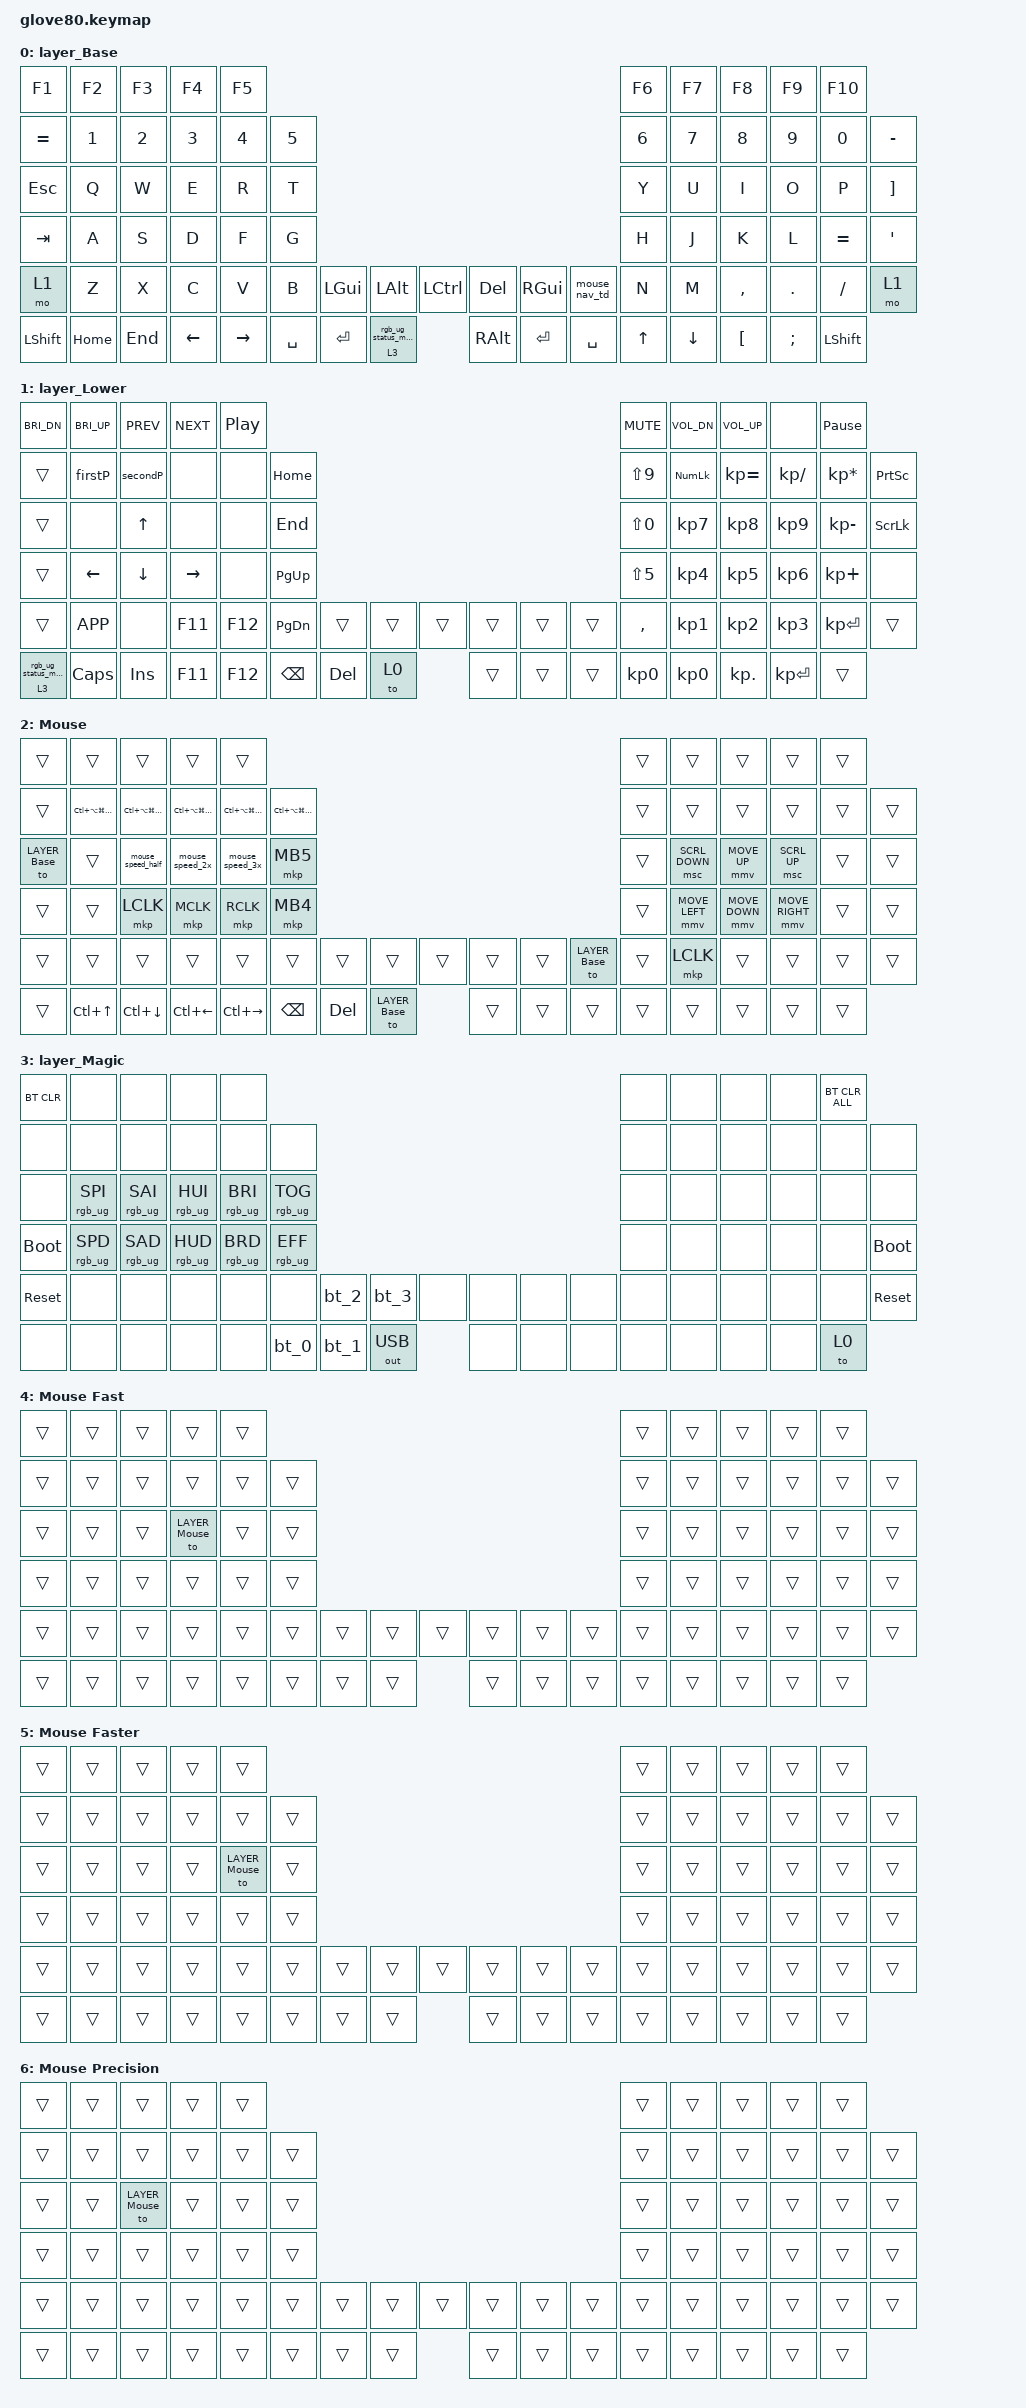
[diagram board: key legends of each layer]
/*
 * Copyright (c) 2020 The ZMK Contributors
 * Copyright (c) 2025 Innaworks Development Limited, trading as MoErgo
 *
 * SPDX-License-Identifier: MIT
 */
/* THIS FILE WAS GENERATED BY GLOVE80 LAYOUT EDITOR
 *
 * This file was generated automatically. You may or may not want to
 * edit it directly.
 */
/* Include all behavior includes needed */

#include <behaviors.dtsi>
#include <dt-bindings/zmk/bt.h>
#include <dt-bindings/zmk/keys.h>
#include <dt-bindings/zmk/outputs.h>
#include <dt-bindings/zmk/pointing.h>
#include <dt-bindings/zmk/rgb.h>
#include <input/processors/scaler.dtsi>

/* Hold Magic and press F2 to unlock Studio/KeyPeek on the central half. */
#ifndef KEYPEEK_UNLOCK
#define KEYPEEK_UNLOCK &none
#endif

/* On demand includes */
/* Helper Macros, based on https://github.com/urob/zmk-helpers/ */

#pragma once

#define ZMK_HELPER_STRINGIFY(x) #x

// Preprocessor mechanism to overload macros, cf. https://stackoverflow.com/a/27051616/6114651

#define VARGS_(_10, _9, _8, _7, _6, _5, _4, _3, _2, _1, N, ...) N
#define VARGS(...) VARGS_(__VA_ARGS__, 10, 9, 8, 7, 6, 5, 4, 3, 2, 1, 0)
#define CONCAT_(a, b) a##b
#define CONCAT(a, b) CONCAT_(a, b)

#define ZMK_BEHAVIOR_CORE_tap_dance  \
    compatible = "zmk,behavior-tap-dance"; \
    #binding-cells = <0>

#define ZMK_BEHAVIOR(name, type, ...) \
    name: name { \
        ZMK_BEHAVIOR_CORE_ ## type; \
        __VA_ARGS__ \
    };
#define ZMK_TAP_DANCE(name, ...) \
    ZMK_BEHAVIOR(name, tap_dance, __VA_ARGS__)
#define ZMK_TD_LAYER(name, layer) \
    ZMK_TAP_DANCE(name, \
        tapping-term-ms = <200>; \
        bindings = <&mo layer>, <&to layer>; \
)

/* Environment and metadata defines */

#define KB_TYPE_GLOVE_80 1
#define KB_TYPE_GO_60    2
#define KB_TYPE          KB_TYPE_GLOVE_80
#define EDITOR_HOST_OS   'M'

/* Automatically generated layer name defines */

#define LAYER_Base 0
#define LAYER_Lower 1
#define LAYER_Mouse 2
#define LAYER_Magic 3
#define LAYER_Mouse_Fast 4
#define LAYER_Mouse_Faster 5
#define LAYER_Mouse_Precision 6

/* Scale pointer events only; mouse buttons and scrolling use other listeners. */
&mmv_input_listener {
    precision {
        layers = <LAYER_Mouse_Precision>;
        input-processors = <&zip_xy_scaler 1 2>;
    };
    faster {
        layers = <LAYER_Mouse_Faster>;
        input-processors = <&zip_xy_scaler 3 1>;
    };
    fast {
        layers = <LAYER_Mouse_Fast>;
        input-processors = <&zip_xy_scaler 2 1>;
    };
};

/* Hold Mouse; release returns to Base and clears every speed flag. */
/ {
    macros {
        mouse_nav: mouse_nav {
            compatible = "zmk,behavior-macro";
            #binding-cells = <0>;
            wait-ms = <0>;
            tap-ms = <0>;
            bindings = <&macro_press &mo LAYER_Mouse>,
                       <&macro_pause_for_release>,
                       <&macro_release &mo LAYER_Mouse>,
                       <&macro_tap &to LAYER_Base>;
        };

        /* Select one speed, clearing any previously active speed flags. */
        mouse_speed_half: mouse_speed_half {
            compatible = "zmk,behavior-macro";
            #binding-cells = <0>;
            wait-ms = <0>;
            tap-ms = <0>;
            bindings = <&macro_tap &to LAYER_Mouse &tog LAYER_Mouse_Precision>;
        };

        mouse_speed_2x: mouse_speed_2x {
            compatible = "zmk,behavior-macro";
            #binding-cells = <0>;
            wait-ms = <0>;
            tap-ms = <0>;
            bindings = <&macro_tap &to LAYER_Mouse &tog LAYER_Mouse_Fast>;
        };

        mouse_speed_3x: mouse_speed_3x {
            compatible = "zmk,behavior-macro";
            #binding-cells = <0>;
            wait-ms = <0>;
            tap-ms = <0>;
            bindings = <&macro_tap &to LAYER_Mouse &tog LAYER_Mouse_Faster>;
        };
    };
};

/* To deal with the situation where there is no Lower layer, to keep &lower happy */
#ifndef LAYER_Lower
#define LAYER_Lower 0
#endif

/ {
    /* Custom Device-tree */
    /* Input Listeners */
    /* System behavior and Macros */

    behaviors {
        ZMK_TD_LAYER(lower, LAYER_Lower)

        mouse_nav_td: mouse_nav_tap_dance {
            compatible = "zmk,behavior-tap-dance";
            #binding-cells = <0>;
            tapping-term-ms = <200>;
            bindings = <&mouse_nav>, <&to LAYER_Mouse>;
        };
    };
};

/ {
    macros {
        rgb_ug_status_macro: rgb_ug_status_macro {
            label = "RGB_UG_STATUS";
            compatible = "zmk,behavior-macro";
            #binding-cells = <0>;
            bindings = <&rgb_ug RGB_STATUS>;
        };
    };
};

/ {
    #ifdef BT_DISC_CMD

    behaviors {
        bt_0: bt_0 {
            compatible = "zmk,behavior-tap-dance";
            label = "BT_0";
            #binding-cells = <0>;
            tapping-term-ms = <200>;
            bindings = <&bt_select_0>, <&bt BT_DISC 0>;
        };

        bt_1: bt_1 {
            compatible = "zmk,behavior-tap-dance";
            label = "BT_1";
            #binding-cells = <0>;
            tapping-term-ms = <200>;
            bindings = <&bt_select_1>, <&bt BT_DISC 1>;
        };

        bt_2: bt_2 {
            compatible = "zmk,behavior-tap-dance";
            label = "BT_2";
            #binding-cells = <0>;
            tapping-term-ms = <200>;
            bindings = <&bt_select_2>, <&bt BT_DISC 2>;
        };

        bt_3: bt_3 {
            compatible = "zmk,behavior-tap-dance";
            label = "BT_3";
            #binding-cells = <0>;
            tapping-term-ms = <200>;
            bindings = <&bt_select_3>, <&bt BT_DISC 3>;
        };
    };

    macros {
        bt_select_0: bt_select_0 {
            label = "BT_SELECT_0";
            compatible = "zmk,behavior-macro";
            #binding-cells = <0>;
            bindings = <&out OUT_BLE &bt BT_SEL 0>;
        };

        bt_select_1: bt_select_1 {
            label = "BT_SELECT_1";
            compatible = "zmk,behavior-macro";
            #binding-cells = <0>;
            bindings = <&out OUT_BLE &bt BT_SEL 1>;
        };

        bt_select_2: bt_select_2 {
            label = "BT_SELECT_2";
            compatible = "zmk,behavior-macro";
            #binding-cells = <0>;
            bindings = <&out OUT_BLE &bt BT_SEL 2>;
        };

        bt_select_3: bt_select_3 {
            label = "BT_SELECT_3";
            compatible = "zmk,behavior-macro";
            #binding-cells = <0>;
            bindings = <&out OUT_BLE &bt BT_SEL 3>;
        };
    };

    #else

    macros {
        bt_0: bt_0 {
            label = "BT_0";
            compatible = "zmk,behavior-macro";
            #binding-cells = <0>;
            bindings = <&out OUT_BLE &bt BT_SEL 0>;
        };

        bt_1: bt_1 {
            label = "BT_1";
            compatible = "zmk,behavior-macro";
            #binding-cells = <0>;
            bindings = <&out OUT_BLE &bt BT_SEL 1>;
        };

        bt_2: bt_2 {
            label = "BT_2";
            compatible = "zmk,behavior-macro";
            #binding-cells = <0>;
            bindings = <&out OUT_BLE &bt BT_SEL 2>;
        };

        bt_3: bt_3 {
            label = "BT_3";
            compatible = "zmk,behavior-macro";
            #binding-cells = <0>;
            bindings = <&out OUT_BLE &bt BT_SEL 3>;
        };
    };

    #endif
};

/ {
    behaviors {
        magic: magic {
            compatible = "zmk,behavior-hold-tap";
            label = "MAGIC_HOLD_TAP";
            #binding-cells = <2>;
            flavor = "tap-preferred";
            tapping-term-ms = <200>;
            bindings = <&mo>, <&rgb_ug_status_macro>;
        };
    };
};

/* Locale-specific keycodes */

#define PT_APOS MINUS
#define PT_PLUS LEFT_BRACKET
#define PT_MINUS SLASH
#define PT_DOT PERIOD
#define PT_COMMA COMMA
#define PT_LT NON_US_BACKSLASH
#define PT_ACUTE RIGHT_BRACKET
#define PT_TILDE BACKSLASH
#define PT_RAQUO EQUAL
#define PT_ORDM SINGLE_QUOTE
#define PT_BSLH GRAVE
#define PT_C_CEDILLA SEMICOLON
#define PT_N1 N1
#define PT_N2 N2
#define PT_N3 N3
#define PT_N4 N4
#define PT_N5 N5
#define PT_N6 N6
#define PT_N7 N7
#define PT_N8 N8
#define PT_N9 N9
#define PT_N0 N0
#define PT_E E

/* Key positions */

#define POS_LH_C6R1 0
#define POS_LH_C5R1 1
#define POS_LH_C4R1 2
#define POS_LH_C3R1 3
#define POS_LH_C2R1 4
#define POS_RH_C2R1 5
#define POS_RH_C3R1 6
#define POS_RH_C4R1 7
#define POS_RH_C5R1 8
#define POS_RH_C6R1 9
#define POS_LH_C6R2 10
#define POS_LH_C5R2 11
#define POS_LH_C4R2 12
#define POS_LH_C3R2 13
#define POS_LH_C2R2 14
#define POS_LH_C1R2 15
#define POS_RH_C1R2 16
#define POS_RH_C2R2 17
#define POS_RH_C3R2 18
#define POS_RH_C4R2 19
#define POS_RH_C5R2 20
#define POS_RH_C6R2 21
#define POS_LH_C6R3 22
#define POS_LH_C5R3 23
#define POS_LH_C4R3 24
#define POS_LH_C3R3 25
#define POS_LH_C2R3 26
#define POS_LH_C1R3 27
#define POS_RH_C1R3 28
#define POS_RH_C2R3 29
#define POS_RH_C3R3 30
#define POS_RH_C4R3 31
#define POS_RH_C5R3 32
#define POS_RH_C6R3 33
#define POS_LH_C6R4 34
#define POS_LH_C5R4 35
#define POS_LH_C4R4 36
#define POS_LH_C3R4 37
#define POS_LH_C2R4 38
#define POS_LH_C1R4 39
#define POS_RH_C1R4 40
#define POS_RH_C2R4 41
#define POS_RH_C3R4 42
#define POS_RH_C4R4 43
#define POS_RH_C5R4 44
#define POS_RH_C6R4 45
#define POS_LH_C6R5 46
#define POS_LH_C5R5 47
#define POS_LH_C4R5 48
#define POS_LH_C3R5 49
#define POS_LH_C2R5 50
#define POS_LH_C1R5 51
#define POS_LH_T1 52
#define POS_LH_T2 53
#define POS_LH_T3 54
#define POS_RH_T3 55
#define POS_RH_T2 56
#define POS_RH_T1 57
#define POS_RH_C1R5 58
#define POS_RH_C2R5 59
#define POS_RH_C3R5 60
#define POS_RH_C4R5 61
#define POS_RH_C5R5 62
#define POS_RH_C6R5 63
#define POS_LH_C6R6 64
#define POS_LH_C5R6 65
#define POS_LH_C4R6 66
#define POS_LH_C3R6 67
#define POS_LH_C2R6 68
#define POS_LH_T4 69
#define POS_LH_T5 70
#define POS_LH_T6 71
#define POS_RH_T6 72
#define POS_RH_T5 73
#define POS_RH_T4 74
#define POS_RH_C2R6 75
#define POS_RH_C3R6 76
#define POS_RH_C4R6 77
#define POS_RH_C5R6 78
#define POS_RH_C6R6 79

/* Custom Defined Behaviors */

/ {
};

/* Generated input processors */
/* Automatically generated macro definitions */

/ {
    macros {
        // set password

        firstP: password {
            label = "&PASSWORD";
            compatible = "zmk,behavior-macro";
            #binding-cells = <0>;
            bindings = <&kp LS(N1) &kp N2 &kp N5 &kp LS(F) &kp R &kp I &kp D &kp A &kp Y &kp N2 &kp N5 &kp LS(DOT) &kp LS(N9)>;
        };

        secondP: secondP {
            compatible = "zmk,behavior-macro";
            #binding-cells = <0>;
            bindings = <&none &kp N2 &kp LS(G) &kp N5 &kp Y &kp LS(APOS) &kp LS(N) &kp LS(Y) &kp LS(X) &kp LS(N6) &kp L &kp J &kp X &kp O &kp LS(E) &kp LS(N5) &kp J>;
            label = "SECONDP";
        };
    };
};

/* Automatically generated behavior definitions */

/ {
    behaviors {
    };
};

/* Automatically generated combos definitions */
/* Automatically generated keymap */

/ {
    keymap {
        compatible = "zmk,keymap";

        layer_Base {
            bindings = <
&kp F1     &kp F2    &kp F3   &kp F4    &kp F5                                                                                     &kp F6  &kp F7     &kp F8    &kp F9     &kp F10
&kp EQUAL  &kp N1    &kp N2   &kp N3    &kp N4     &kp N5                                                                  &kp N6  &kp N7  &kp N8     &kp N9    &kp N0     &kp MINUS
&kp ESC    &kp Q     &kp W    &kp E     &kp R      &kp T                                                                   &kp Y   &kp U   &kp I      &kp O     &kp P      &kp RIGHT_BRACKET
&kp TAB    &kp A     &kp S    &kp D     &kp F      &kp G                                                                   &kp H   &kp J   &kp K      &kp L     &kp EQUAL  &kp APOS
&mo 1      &kp Z     &kp X    &kp C     &kp V      &kp B   &kp LGUI   &kp LALT  &kp LCTRL   &kp DEL   &kp RGUI  &mouse_nav_td     &kp N   &kp M   &kp COMMA  &kp DOT   &kp FSLH   &mo 1
&kp LSHFT  &kp HOME  &kp END  &kp LEFT  &kp RIGHT          &kp SPACE  &kp RET   &magic 3 0  &kp RALT  &kp RET   &kp SPACE          &kp UP  &kp DOWN   &kp LBKT  &kp SEMI   &kp LSHFT
            >;
        };

        layer_Lower {
            bindings = <
&kp C_BRI_DN  &kp C_BRI_UP    &kp C_PREV      &kp C_NEXT       &kp C_PP                                                                            &kp C_MUTE  &kp C_VOL_DN  &kp C_VOL_UP  &none            &kp PAUSE_BREAK
&trans        &firstP         &secondP        &none            &none     &kp HOME                                                      &kp LS(N9)  &kp KP_NUM  &kp KP_EQUAL  &kp KP_SLASH  &kp KP_MULTIPLY  &kp PRINTSCREEN
&trans        &none           &kp UP_ARROW    &none            &none     &kp END                                                       &kp LS(N0)  &kp KP_N7   &kp KP_N8     &kp KP_N9     &kp KP_MINUS     &kp SCROLLLOCK
&trans        &kp LEFT_ARROW  &kp DOWN_ARROW  &kp RIGHT_ARROW  &none     &kp PG_UP                                                     &kp LS(N5)  &kp KP_N4   &kp KP_N5     &kp KP_N6     &kp KP_PLUS      &none
&trans        &kp K_APP       &none           &kp F11          &kp F12   &kp PG_DN  &trans    &trans   &trans  &trans  &trans  &trans  &kp COMMA   &kp KP_N1   &kp KP_N2     &kp KP_N3     &kp KP_ENTER     &trans
&magic 3 0    &kp CAPS        &kp INS         &kp F11          &kp F12              &kp BSPC  &kp DEL  &to 0   &trans  &trans  &trans              &kp KP_N0   &kp KP_N0     &kp KP_DOT    &kp KP_ENTER     &trans
            >;
        };

        /* Mouse/nav: 1-5 app shortcuts, IJKL pointer, S/D/F/M clicks, U/O scroll, W/E/R speed. */
        layer_Mouse {
            display-name = "Mouse";
            bindings = <
&trans  &trans          &trans          &trans           &trans                                                                            &trans          &trans          &trans           &trans  &trans
&trans  &kp LC(LA(LG(LS(F1))))  &kp LC(LA(LG(LS(F2))))  &kp LC(LA(LG(LS(F3))))  &kp LC(LA(LG(LS(F4))))  &kp LC(LA(LG(LS(F5))))  &trans  &trans  &trans  &trans  &trans  &trans
&to LAYER_Base  &trans  &mouse_speed_half  &mouse_speed_2x  &mouse_speed_3x  &mkp MB5                                            &trans  &msc SCRL_DOWN  &mmv MOVE_UP  &msc SCRL_UP  &trans  &trans
&trans  &trans          &mkp LCLK       &mkp MCLK        &mkp RCLK  &mkp MB4                                                    &trans  &mmv MOVE_LEFT  &mmv MOVE_DOWN  &mmv MOVE_RIGHT  &trans  &trans
&trans  &trans          &trans          &trans           &trans  &trans  &trans  &trans  &trans  &trans  &trans  &to LAYER_Base  &trans  &mkp LCLK  &trans  &trans  &trans  &trans
&trans  &kp LC(UP)      &kp LC(DOWN)    &kp LC(LEFT)     &kp LC(RIGHT)   &kp BSPC  &kp DEL  &to LAYER_Base  &trans  &trans  &trans         &trans  &trans  &trans  &trans  &trans
            >;
        };

        layer_Magic {
            bindings = <
&bt BT_CLR   KEYPEEK_UNLOCK   &none            &none            &none                                                                                     &none  &none  &none  &none  &bt BT_CLR_ALL
&none        &none            &none            &none            &none            &none                                                             &none  &none  &none  &none  &none  &none
&none        &rgb_ug RGB_SPI  &rgb_ug RGB_SAI  &rgb_ug RGB_HUI  &rgb_ug RGB_BRI  &rgb_ug RGB_TOG                                                   &none  &none  &none  &none  &none  &none
&bootloader  &rgb_ug RGB_SPD  &rgb_ug RGB_SAD  &rgb_ug RGB_HUD  &rgb_ug RGB_BRD  &rgb_ug RGB_EFF                                                   &none  &none  &none  &none  &none  &bootloader
&sys_reset   &none            &none            &none            &none            &none            &bt_2  &bt_3  &none         &none  &none  &none  &none  &none  &none  &none  &none  &sys_reset
&none        &none            &none            &none            &none                             &bt_0  &bt_1  &out OUT_USB  &none  &none  &none         &none  &none  &none  &none  &to 0
            >;
        };

        /* 2x speed flag: E returns to normal; W/R select another speed. */
        layer_Mouse_Fast {
            display-name = "Mouse Fast";
            bindings = <
&trans  &trans  &trans  &trans  &trans                                                          &trans  &trans  &trans  &trans  &trans
&trans  &trans  &trans  &trans  &trans  &trans                                          &trans  &trans  &trans  &trans  &trans  &trans
&trans  &trans  &trans  &to LAYER_Mouse  &trans  &trans                                 &trans  &trans  &trans  &trans  &trans  &trans
&trans  &trans  &trans  &trans  &trans  &trans                                          &trans  &trans  &trans  &trans  &trans  &trans
&trans  &trans  &trans  &trans  &trans  &trans  &trans  &trans  &trans  &trans  &trans  &trans  &trans  &trans  &trans  &trans  &trans  &trans
&trans  &trans  &trans  &trans  &trans          &trans  &trans  &trans  &trans  &trans  &trans          &trans  &trans  &trans  &trans  &trans
            >;
        };

        /* 3x speed flag: R returns to normal; W/E select another speed. */
        layer_Mouse_Faster {
            display-name = "Mouse Faster";
            bindings = <
&trans  &trans  &trans  &trans  &trans                                                          &trans  &trans  &trans  &trans  &trans
&trans  &trans  &trans  &trans  &trans  &trans                                          &trans  &trans  &trans  &trans  &trans  &trans
&trans  &trans  &trans  &trans  &to LAYER_Mouse  &trans                                 &trans  &trans  &trans  &trans  &trans  &trans
&trans  &trans  &trans  &trans  &trans  &trans                                          &trans  &trans  &trans  &trans  &trans  &trans
&trans  &trans  &trans  &trans  &trans  &trans  &trans  &trans  &trans  &trans  &trans  &trans  &trans  &trans  &trans  &trans  &trans  &trans
&trans  &trans  &trans  &trans  &trans          &trans  &trans  &trans  &trans  &trans  &trans          &trans  &trans  &trans  &trans  &trans
            >;
        };

        /* 0.5x speed flag: W returns to normal; E/R select another speed. */
        layer_Mouse_Precision {
            display-name = "Mouse Precision";
            bindings = <
&trans  &trans  &trans  &trans  &trans                                                          &trans  &trans  &trans  &trans  &trans
&trans  &trans  &trans  &trans  &trans  &trans                                          &trans  &trans  &trans  &trans  &trans  &trans
&trans  &trans  &to LAYER_Mouse  &trans  &trans  &trans                                 &trans  &trans  &trans  &trans  &trans  &trans
&trans  &trans  &trans  &trans  &trans  &trans                                          &trans  &trans  &trans  &trans  &trans  &trans
&trans  &trans  &trans  &trans  &trans  &trans  &trans  &trans  &trans  &trans  &trans  &trans  &trans  &trans  &trans  &trans  &trans  &trans
&trans  &trans  &trans  &trans  &trans          &trans  &trans  &trans  &trans  &trans  &trans          &trans  &trans  &trans  &trans  &trans
            >;
        };
    };
};
